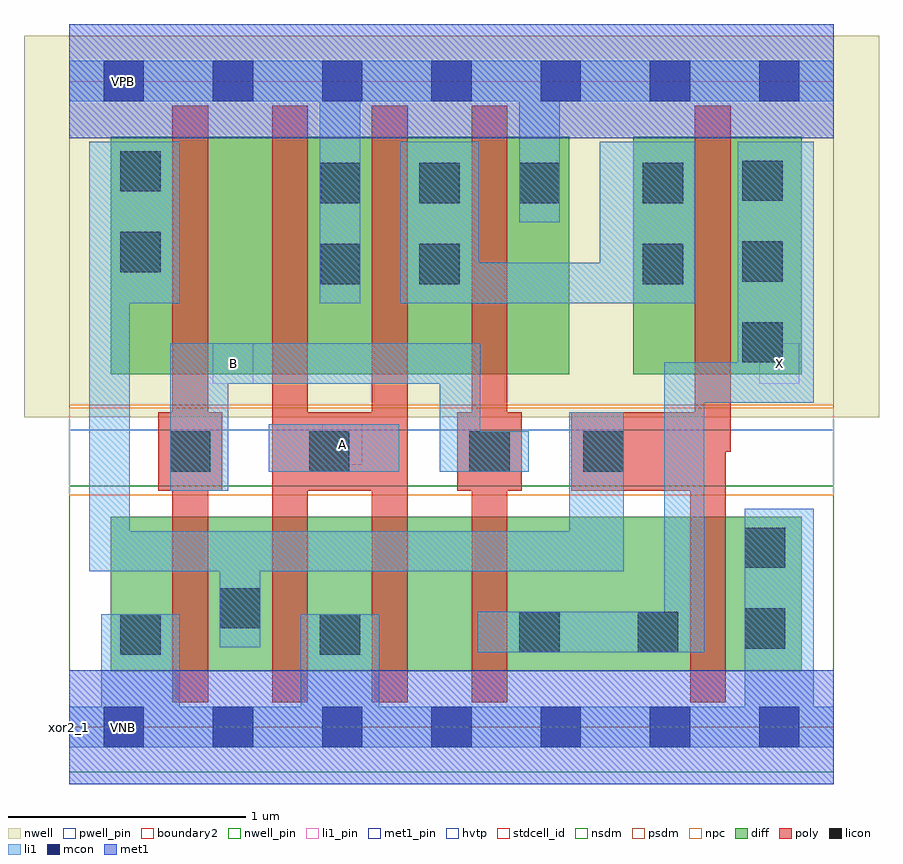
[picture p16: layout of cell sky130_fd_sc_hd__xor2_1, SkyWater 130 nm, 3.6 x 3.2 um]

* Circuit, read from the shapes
.subckt sky130_fd_sc_hd__xor2_1 A B VGND VNB VPB VPWR X
XM1 n1 B VGND VNB sky130_fd_pr__nfet_01v8 w=0.65 l=0.15
XM2 VGND A n1 VNB sky130_fd_pr__nfet_01v8 w=0.65 l=0.15
XM3 n2 A VGND VNB sky130_fd_pr__nfet_01v8 w=0.65 l=0.15
XM4 X B n2 VNB sky130_fd_pr__nfet_01v8 w=0.65 l=0.15
XM5 VGND n1 X VNB sky130_fd_pr__nfet_01v8 w=0.65 l=0.15
XM6 n3 B n1 VPB sky130_fd_pr__pfet_01v8_hvt w=1 l=0.15
XM7 VPWR A n3 VPB sky130_fd_pr__pfet_01v8_hvt w=1 l=0.15
XM8 n4 A VPWR VPB sky130_fd_pr__pfet_01v8_hvt w=1 l=0.15
XM9 VPWR B n4 VPB sky130_fd_pr__pfet_01v8_hvt w=1 l=0.15
XM10 X n1 n4 VPB sky130_fd_pr__pfet_01v8_hvt w=1 l=0.15
.ends

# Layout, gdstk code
import gdstk
lib = gdstk.Library(unit=1e-6, precision=1e-09)
def R(c, l, rs):  # rectangles x0, y0, x1, y1
    for r in rs: c.add(gdstk.rectangle(r[:2], r[2:], *l))
def A(c, l, x, y, w, h, nx, ny, dx, dy):  # array of equal rectangles
    R(c, l, [(x+i*dx, y+j*dy, x+i*dx+w, y+j*dy+h) for i in range(nx) for j in range(ny)])
def P(c, l, *ps):  # polygons
    for p in ps: c.add(gdstk.Polygon(p, *l))
nwell_pin = (64, 16)
nwell = (64, 20)
diff = (65, 20)
poly = (66, 20)
licon = (66, 44)
li1_pin = (67, 16)
li1 = (67, 20)
mcon = (67, 44)
met1_pin = (68, 16)
met1 = (68, 20)
hvtp = (78, 44)
stdcell_id = (81, 4)
nsdm = (93, 44)
psdm = (94, 20)
npc = (95, 20)
pwell_pin = (122, 16)
boundary2 = (236, 0)

sky130_fd_sc_hd__xor2_1 = lib.new_cell('sky130_fd_sc_hd__xor2_1')
R(sky130_fd_sc_hd__xor2_1, nwell_pin, [(0.145,2.635,0.315,2.805)])
R(sky130_fd_sc_hd__xor2_1, nwell, [(-0.19,1.305,3.41,2.91)])
R(sky130_fd_sc_hd__xor2_1, diff, [(0.175,0.235,3.085,0.885), (0.175,1.485,2.105,2.485), (2.375,1.485,3.085,2.485)])
P(sky130_fd_sc_hd__xor2_1, poly, [(0.645,1.325),(0.585,1.325),(0.585,2.615),(0.435,2.615),(0.435,1.325),(0.375,1.325),(0.375,0.995),(0.435,0.995),(0.435,0.105),(0.585,0.105),(0.585,0.995),(0.645,0.995)],
  [(1.425,2.615),(1.275,2.615),(1.275,1.325),(1.005,1.325),(1.005,2.615),(0.855,2.615),(0.855,0.105),(1.005,0.105),(1.005,0.995),(1.275,0.995),(1.275,0.105),(1.425,0.105)],
  [(1.905,1.325),(1.845,1.325),(1.845,2.615),(1.695,2.615),(1.695,1.325),(1.635,1.325),(1.635,0.995),(1.695,0.995),(1.695,0.105),(1.845,0.105),(1.845,0.995),(1.905,0.995)],
  [(2.765,1.16),(2.785,1.16),(2.785,2.615),(2.635,2.615),(2.635,1.325),(2.115,1.325),(2.115,0.995),(2.615,0.995),(2.615,0.105),(2.765,0.105)])
A(sky130_fd_sc_hd__xor2_1, licon, 2.835, 1.535, 0.17, 0.17, 1, 3, 0, 0.34)
A(sky130_fd_sc_hd__xor2_1, licon, 1.055, 2.205, 0.17, 0.17, 3, 1, 0.42, 0)
R(sky130_fd_sc_hd__xor2_1, licon, [(0.215,0.305,0.385,0.475), (1.055,0.305,1.225,0.475), (1.895,0.315,2.065,0.485), (2.395,0.315,2.565,0.485), (2.845,0.33,3.015,0.5), (0.635,0.415,0.805,0.585), (2.845,0.67,3.015,0.84), (0.425,1.075,0.595,1.245), (1.01,1.075,1.18,1.245), (1.685,1.075,1.855,1.245), (2.165,1.075,2.335,1.245), (1.055,1.865,1.225,2.035), (1.475,1.865,1.645,2.035), (2.415,1.865,2.585,2.035), (0.215,1.915,0.385,2.085), (2.415,2.205,2.585,2.375), (0.215,2.255,0.385,2.425)])
R(sky130_fd_sc_hd__xor2_1, li1_pin, [(1.065,1.105,1.235,1.275), (0.605,1.445,0.775,1.615), (2.905,1.445,3.075,1.615)])
R(sky130_fd_sc_hd__xor2_1, li1, [(0.84,1.075,1.39,1.275)])
P(sky130_fd_sc_hd__xor2_1, li1, [(1.935,1.245),(1.73,1.245),(1.73,1.615),(0.425,1.615),(0.425,0.995),(0.67,0.995),(0.67,1.445),(1.56,1.445),(1.56,1.075),(1.935,1.075)],
  [(2.335,1.325),(2.105,1.325),(2.105,0.825),(0.255,0.825),(0.255,1.785),(0.465,1.785),(0.465,2.465),(0.085,2.465),(0.085,0.655),(0.635,0.655),(0.635,0.335),(0.805,0.335),(0.805,0.655),(2.335,0.655)],
  [(2.635,2.465),(2.235,2.465),(2.235,1.955),(1.725,1.955),(1.725,2.465),(1.395,2.465),(1.395,1.785),(2.635,1.785)],
  [(3.135,2.465),(2.815,2.465),(2.815,1.535),(2.505,1.535),(2.505,0.485),(1.72,0.485),(1.72,0.315),(2.675,0.315),(2.675,1.365),(3.135,1.365)],
  [(3.22,2.805),(0,2.805),(0,2.635),(1.055,2.635),(1.055,1.785),(1.225,1.785),(1.225,2.635),(1.895,2.635),(1.895,2.125),(2.065,2.125),(2.065,2.635),(3.22,2.635)],
  [(3.22,0.085),(3.135,0.085),(3.135,0.92),(2.845,0.92),(2.845,0.085),(1.305,0.085),(1.305,0.475),(0.975,0.475),(0.975,0.085),(0.465,0.085),(0.465,0.475),(0.135,0.475),(0.135,0.085),(0,0.085),(0,-0.085),(3.22,-0.085)])
A(sky130_fd_sc_hd__xor2_1, mcon, 0.145, -0.085, 0.17, 0.17, 7, 2, 0.46, 2.72)
R(sky130_fd_sc_hd__xor2_1, met1_pin, [(0.145,-0.085,0.315,0.085), (0.145,2.635,0.315,2.805)])
R(sky130_fd_sc_hd__xor2_1, hvtp, [(0,1.25,3.22,2.72)])
R(sky130_fd_sc_hd__xor2_1, stdcell_id, [(0,0,3.22,2.72)])
R(sky130_fd_sc_hd__xor2_1, nsdm, [(0,-0.19,3.22,1.015)])
R(sky130_fd_sc_hd__xor2_1, psdm, [(0,1.355,3.22,2.91)])
R(sky130_fd_sc_hd__xor2_1, npc, [(0,0.975,3.22,1.345)])
R(sky130_fd_sc_hd__xor2_1, pwell_pin, [(0.145,-0.085,0.315,0.085)])
R(sky130_fd_sc_hd__xor2_1, boundary2, [(0,0,3.22,2.72)])
sky130_fd_sc_hd__xor2_1.add(gdstk.FlexPath([(0,0),(3.22,0)], 0.48, ends="flush", simple_path=True, layer=68, datatype=20))  # met1
sky130_fd_sc_hd__xor2_1.add(gdstk.FlexPath([(0,2.72),(3.22,2.72)], 0.48, ends="flush", simple_path=True, layer=68, datatype=20))  # met1
sky130_fd_sc_hd__xor2_1.add(gdstk.Label('B', (0.69,1.53), layer=67, texttype=5))
sky130_fd_sc_hd__xor2_1.add(gdstk.Label('X', (2.99,1.53), layer=67, texttype=5))
sky130_fd_sc_hd__xor2_1.add(gdstk.Label('A', (1.15,1.19), layer=67, texttype=5))
sky130_fd_sc_hd__xor2_1.add(gdstk.Label('VNB', (0.23,0), layer=64, texttype=59))
sky130_fd_sc_hd__xor2_1.add(gdstk.Label('VPB', (0.23,2.72), layer=64, texttype=5))
sky130_fd_sc_hd__xor2_1.add(gdstk.Label('VPWR', (0.23,2.72), layer=68, texttype=5))
sky130_fd_sc_hd__xor2_1.add(gdstk.Label('VGND', (0.23,0), layer=68, texttype=5))
sky130_fd_sc_hd__xor2_1.add(gdstk.Label('xor2_1', (0,0), layer=83, texttype=44))

lib.write_gds('sky130_fd_sc_hd__xor2_1.gds')
